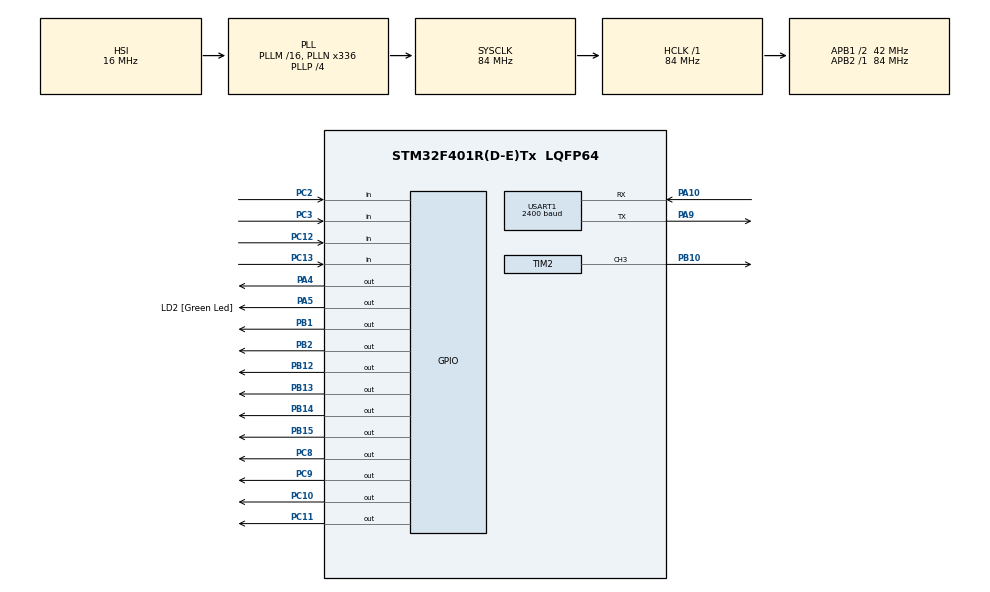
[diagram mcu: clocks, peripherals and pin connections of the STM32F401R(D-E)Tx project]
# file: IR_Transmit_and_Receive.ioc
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Mcu.Family=STM32F4
Mcu.Name=STM32F401R(D-E)Tx
Mcu.Package=LQFP64
NVIC.PriorityGroup=NVIC_PRIORITYGROUP_4
NVIC.TIM3_IRQn=true\:0\:0\:false\:false\:true\:true\:true\:true
NVIC.TIM4_IRQn=true\:2\:0\:true\:false\:true\:true\:true\:true
NVIC.USART1_IRQn=true\:1\:0\:true\:false\:true\:true\:true\:true
PA10.Mode=Asynchronous
PA10.Signal=USART1_RX
PA13.GPIO_Label=TMS
PA13.Mode=Trace_Asynchronous_SW
PA13.Signal=SYS_JTMS-SWDIO
PA14.GPIO_Label=TCK
PA14.Mode=Trace_Asynchronous_SW
PA14.Signal=SYS_JTCK-SWCLK
PA2.GPIO_Label=USART_TX
PA2.GPIO_Mode=GPIO_MODE_AF_PP
PA2.GPIO_PuPd=GPIO_NOPULL
PA2.GPIO_Speed=GPIO_SPEED_FREQ_LOW
PA2.Signal=USART2_TX
PA3.GPIO_Label=USART_RX
PA3.GPIO_Mode=GPIO_MODE_AF_PP
PA3.GPIO_PuPd=GPIO_NOPULL
PA3.GPIO_Speed=GPIO_SPEED_FREQ_LOW
PA3.Signal=USART2_RX
PA4.Signal=GPIO_Output
PA5.GPIO_Label=LD2 [Green Led]
PA5.GPIO_Mode=GPIO_MODE_OUTPUT_PP
PA5.GPIO_PuPd=GPIO_NOPULL
PA5.GPIO_Speed=GPIO_SPEED_FREQ_LOW
PA5.Signal=GPIO_Output
PA9.Mode=Asynchronous
PA9.Signal=USART1_TX
PB1.Signal=GPIO_Output
PB10.Signal=S_TIM2_CH3
PB12.Signal=GPIO_Output
PB13.Signal=GPIO_Output
PB14.Signal=GPIO_Output
PB15.Signal=GPIO_Output
PB2.Signal=GPIO_Output
PB3.GPIO_Label=SWO
PB3.Mode=Trace_Asynchronous_SW
PB3.Signal=SYS_JTDO-SWO
PC10.Signal=GPIO_Output
PC11.Signal=GPIO_Output
PC12.Signal=GPIO_Input
PC13-ANTI_TAMP.Signal=GPIO_Input
PC14-OSC32_IN.Mode=LSE-External-Oscillator
PC14-OSC32_IN.Signal=RCC_OSC32_IN
PC15-OSC32_OUT.Mode=LSE-External-Oscillator
PC15-OSC32_OUT.Signal=RCC_OSC32_OUT
PC2.Signal=GPIO_Input
PC3.Signal=GPIO_Input
PC8.Signal=GPIO_Output
PC9.Signal=GPIO_Output
PH0\ -\ OSC_IN.Mode=HSE-External-Clock-Source
PH0\ -\ OSC_IN.Signal=RCC_OSC_IN
PH1\ -\ OSC_OUT.Mode=HSE-External-Clock-Source
PH1\ -\ OSC_OUT.Signal=RCC_OSC_OUT
ProjectManager.HeapSize=0x200
ProjectManager.StackSize=0x400
ProjectManager.TargetToolchain=STM32CubeIDE
RCC.48MHZClocksFreq_Value=48000000
RCC.AHBFreq_Value=84000000
RCC.APB1CLKDivider=RCC_HCLK_DIV2
RCC.APB1Freq_Value=42000000
RCC.APB1TimFreq_Value=84000000
RCC.APB2Freq_Value=84000000
RCC.APB2TimFreq_Value=84000000
RCC.CortexFreq_Value=84000000
RCC.HCLKFreq_Value=84000000
RCC.HSE_VALUE=8000000
RCC.HSI_VALUE=16000000
RCC.PLLN=336
RCC.PLLP=RCC_PLLP_DIV4
RCC.PLLQ=7
RCC.SYSCLKFreq_VALUE=84000000
RCC.SYSCLKSource=RCC_SYSCLKSOURCE_PLLCLK
RCC.VCOOutputFreq_Value=336000000
SH.S_TIM2_CH3.0=TIM2_CH3,PWM Generation3 CH3
TIM2.Channel-PWM\ Generation3\ CH3=TIM_CHANNEL_3
TIM2.Period=2211 - 1
TIM2.Pulse-PWM\ Generation3\ CH3=1105
TIM3.Period=1000 - 1
TIM3.Prescaler=35 - 1
TIM4.Period=5000 - 1
TIM4.Prescaler=84 - 1
USART1.BaudRate=2400
USART1.VirtualMode=VM_ASYNC
VP_TIM2_VS_ClockSourceINT.Mode=Internal
VP_TIM3_VS_ClockSourceINT.Mode=Internal
VP_TIM4_VS_ClockSourceINT.Mode=Internal
board=NUCLEO-F401RE

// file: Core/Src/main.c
/* USER CODE BEGIN Header */
/**
  **************************
  * @file           : main.c
  * @brief          : Main program body
  **************************
  * @attention
  *
  * Copyright (c) 2025 STMicroelectronics.
  * All rights reserved.
  *
  * This software is licensed under terms that can be found in the LICENSE file
  * in the root directory of this software component.
  * If no LICENSE file comes with this software, it is provided AS-IS.
  *
  **************************
  */
/* USER CODE END Header */
#include "main.h"

/* USER CODE BEGIN Includes */
#include "stdio.h"
#include "string.h"
#include "PMDB16_LCD.h"
/* USER CODE END Includes */

/* USER CODE BEGIN PD */
//TRANSMIT
//#define GREEN_LED GPIOA,GPIO_PIN_5
#define TIME_PERIOD_DEBOUNCE 4
#define BUFFER_SIZE 16

#define PIN_PC8 GPIOC, GPIO_PIN_8
#define PIN_PC9 GPIOC, GPIO_PIN_9
#define PIN_PC10 GPIOC, GPIO_PIN_10
#define PIN_PC11 GPIOC, GPIO_PIN_11

#define PIN_PC3 GPIOC, GPIO_PIN_3
#define PIN_PC2 GPIOC, GPIO_PIN_2
#define PIN_PC13 GPIOC, GPIO_PIN_13
#define PIN_PC12 GPIOC, GPIO_PIN_12

//RECEIVE
#define N_CHAR 16 //for LCD
/* USER CODE END PD */

TIM_HandleTypeDef htim2;
TIM_HandleTypeDef htim3;
TIM_HandleTypeDef htim4;

UART_HandleTypeDef huart1;

/* USER CODE BEGIN PV */

//TRANSMIT VARIABLES

//ir uart variables
//uint8_t ONE_BYTE = 0b01011101; //1
//uint8_t ZERO_BYTE = 0b00000000; //0
//char string_send[20]= "Ciao a tutti";

volatile uint8_t sending=0, count_bit=0, pwm_enabled=0, stop_interrupt_IR_send=1, index_str;

//keyboard variables
uint8_t key_pressed[4][4];
uint8_t character_printed[4][4];

//circular buffer for detected and sent keys
volatile char key_press_buffer[BUFFER_SIZE];
volatile uint8_t buff_head=0, buff_tail=0;

int scan_column = 0;

char keyboard[4][4] = {
    { '0','1','2','3' },
    { '4','5','6','7' },
    { '8','9','A','B' },
    { 'C','D','E','F' }
};

//RECEIVE VARIABLES
uint8_t char_receive;
char string_lcd[N_CHAR + 1];
int length_lcd = 0;

/* USER CODE END PV */

void SystemClock_Config(void);
static void MX_GPIO_Init(void);
static void MX_TIM2_Init(void);
static void MX_TIM3_Init(void);
static void MX_USART1_UART_Init(void);
static void MX_TIM4_Init(void);

/* USER CODE BEGIN 0 */

//TRANSMIT
void send_IR_UART(){
	if(!stop_interrupt_IR_send){
		if(sending==0){	//prima accensione pwm
			HAL_TIM_PWM_Start(&htim2, TIM_CHANNEL_3);
			pwm_enabled=1;
			sending=1;
		}else if(sending==1){		//invio effettivo dei bit
			if(count_bit<=7){
				uint8_t bit = (key_press_buffer[buff_tail] >> count_bit) & 0x01;
				if( bit==0 && pwm_enabled==0){ //bit=0 accendo pwm. la accendo solo se non era già accesa
					HAL_TIM_PWM_Start(&htim2, TIM_CHANNEL_3);
					pwm_enabled=1;
				}else if(bit==1 && pwm_enabled==1){ //bit=1 spengo pwm, la spengo solo se non era già accesa
					HAL_TIM_PWM_Stop(&htim2, TIM_CHANNEL_3);
					pwm_enabled=0;
				}
			}else if(pwm_enabled==1){
				HAL_TIM_PWM_Stop(&htim2, TIM_CHANNEL_3);
				pwm_enabled=0;
			}
			count_bit++;
		}

		if(count_bit>8){
			count_bit=0;
			sending=0;
//				if(pwm_enabled==1){
//					HAL_TIM_PWM_Stop(&htim2, TIM_CHANNEL_3);
//				}
			buff_tail = (buff_tail + 1) % BUFFER_SIZE;
			if(buff_head == buff_tail){
				if(pwm_enabled == 1){
					HAL_TIM_PWM_Stop(&htim2, TIM_CHANNEL_3);
					pwm_enabled = 0;
				}
				pwm_enabled = 0;

				stop_interrupt_IR_send=1;
				HAL_TIM_Base_Stop_IT(&htim3);
			}
		}
	}
}

void read_keyboard(){
	if (HAL_GPIO_ReadPin(PIN_PC12) == 1) {
		key_pressed[0][scan_column] = 0;
		character_printed[0][scan_column] = 0;
	}
	else {
		key_pressed[0][scan_column]++;
	}

	if (HAL_GPIO_ReadPin(PIN_PC13) == 1) {
		key_pressed[1][scan_column] = 0;
		character_printed[1][scan_column] = 0;
	}
	else {
		key_pressed[1][scan_column]++;
	}

	if (HAL_GPIO_ReadPin(PIN_PC2) == 1) {
		key_pressed[2][scan_column] = 0;
		character_printed[2][scan_column] = 0;
	}
	else {
		key_pressed[2][scan_column]++;
	}

	if (HAL_GPIO_ReadPin(PIN_PC3) == 1) {
		key_pressed[3][scan_column] = 0;
		character_printed[3][scan_column] = 0;
	}
	else {
		key_pressed[3][scan_column]++;
	}

	scan_column ++;
	if (scan_column > 3)
		scan_column = 0;

	HAL_GPIO_WritePin(PIN_PC11, (scan_column == 3)? 1:0);
	HAL_GPIO_WritePin(PIN_PC10, (scan_column == 2)? 1:0);
	HAL_GPIO_WritePin(PIN_PC9, (scan_column == 1)? 1:0);
	HAL_GPIO_WritePin(PIN_PC8, (scan_column == 0)? 1:0);

	for( int i = 0; i<4;i++) {

		for(int j = 0; j<4; j++) {
			if (key_pressed[i][j] > TIME_PERIOD_DEBOUNCE) {

				if (character_printed[i][j] == 0) {

//	    				HAL_UART_Transmit_DMA(&huart2, &keyboard[i][j],1);
					uint8_t next_head = (buff_head + 1) % BUFFER_SIZE;

					if (next_head != buff_tail) { //check buffer full, if not save key on buffer
						key_press_buffer[buff_head] = keyboard[i][j];
						buff_head = next_head;
					}

					character_printed[i][j] = 1;

					if(stop_interrupt_IR_send == 1) {
					    stop_interrupt_IR_send = 0;
					    __HAL_TIM_SET_COUNTER(&htim3, 0);
					    HAL_TIM_Base_Start_IT(&htim3);
					}
				}
			}
		}
	}
}

void HAL_TIM_PeriodElapsedCallback(TIM_HandleTypeDef *htim){
	if(htim->Instance == TIM3){
		send_IR_UART();
	}
	if(htim->Instance == TIM4){
		read_keyboard();
	}
}

//RECEIVE
void HAL_UARTEx_RxEventCallback(UART_HandleTypeDef *huart, uint16_t Size){
	if (huart->Instance == USART1){
		length_lcd = strlen((char*) string_lcd);

		if (length_lcd >= N_CHAR) {
			string_lcd[0] = '\0';
			length_lcd = 0;
		}

		string_lcd[length_lcd] = char_receive;
		string_lcd[length_lcd + 1] = '\0';

		lcd_println(string_lcd, 0);

		HAL_UARTEx_ReceiveToIdle_IT(&huart1, &char_receive, 1);
	}
}

//void HAL_UART_TxCpltCallback(UART_HandleTypeDef *huart ){
//	if (huart->Instance == USART2){
//		HAL_UART_Receive_IT(&huart1, &char_receive, 1);
//	}
//}

/* USER CODE END 0 */

int main(void)
{

  /* MCU Configuration--------------------------------------------------------*/

  /* Reset of all peripherals, Initializes the Flash interface and the Systick. */
  HAL_Init();

  /* Configure the system clock */
  SystemClock_Config();

  /* Initialize all configured peripherals */
  MX_GPIO_Init();
  MX_TIM2_Init();
  MX_TIM3_Init();
  MX_USART1_UART_Init();
  MX_TIM4_Init();
  /* USER CODE BEGIN 2 */
  lcd_initialize();
  lcd_backlight_ON();

  HAL_UARTEx_ReceiveToIdle_IT(&huart1, &char_receive, 1);

  HAL_TIM_PWM_Init(&htim2);
//  HAL_TIM_Base_Start_IT(&htim3); // for debug, send string
  HAL_TIM_Base_Start_IT(&htim4);
  /* USER CODE END 2 */

  /* Infinite loop */
  while (1)
  {

  }
}

void SystemClock_Config(void)
{
  RCC_OscInitTypeDef RCC_OscInitStruct = {0};
  RCC_ClkInitTypeDef RCC_ClkInitStruct = {0};

  /** Configure the main internal regulator output voltage
  */
  __HAL_RCC_PWR_CLK_ENABLE();
  __HAL_PWR_VOLTAGESCALING_CONFIG(PWR_REGULATOR_VOLTAGE_SCALE2);

  /** Initializes the RCC Oscillators according to the specified parameters
  * in the RCC_OscInitTypeDef structure.
  */
  RCC_OscInitStruct.OscillatorType = RCC_OSCILLATORTYPE_HSI;
  RCC_OscInitStruct.HSIState = RCC_HSI_ON;
  RCC_OscInitStruct.HSICalibrationValue = RCC_HSICALIBRATION_DEFAULT;
  RCC_OscInitStruct.PLL.PLLState = RCC_PLL_ON;
  RCC_OscInitStruct.PLL.PLLSource = RCC_PLLSOURCE_HSI;
  RCC_OscInitStruct.PLL.PLLM = 16;
  RCC_OscInitStruct.PLL.PLLN = 336;
  RCC_OscInitStruct.PLL.PLLP = RCC_PLLP_DIV4;
  RCC_OscInitStruct.PLL.PLLQ = 7;
  if (HAL_RCC_OscConfig(&RCC_OscInitStruct) != HAL_OK)
  {
    Error_Handler();
  }

  /** Initializes the CPU, AHB and APB buses clocks
  */
  RCC_ClkInitStruct.ClockType = RCC_CLOCKTYPE_HCLK|RCC_CLOCKTYPE_SYSCLK
                              |RCC_CLOCKTYPE_PCLK1|RCC_CLOCKTYPE_PCLK2;
  RCC_ClkInitStruct.SYSCLKSource = RCC_SYSCLKSOURCE_PLLCLK;
  RCC_ClkInitStruct.AHBCLKDivider = RCC_SYSCLK_DIV1;
  RCC_ClkInitStruct.APB1CLKDivider = RCC_HCLK_DIV2;
  RCC_ClkInitStruct.APB2CLKDivider = RCC_HCLK_DIV1;

  if (HAL_RCC_ClockConfig(&RCC_ClkInitStruct, FLASH_LATENCY_2) != HAL_OK)
  {
    Error_Handler();
  }
}

static void MX_TIM2_Init(void)
{

  TIM_ClockConfigTypeDef sClockSourceConfig = {0};
  TIM_MasterConfigTypeDef sMasterConfig = {0};
  TIM_OC_InitTypeDef sConfigOC = {0};

  htim2.Instance = TIM2;
  htim2.Init.Prescaler = 0;
  htim2.Init.CounterMode = TIM_COUNTERMODE_UP;
  htim2.Init.Period = 2211 - 1;
  htim2.Init.ClockDivision = TIM_CLOCKDIVISION_DIV1;
  htim2.Init.AutoReloadPreload = TIM_AUTORELOAD_PRELOAD_DISABLE;
  if (HAL_TIM_Base_Init(&htim2) != HAL_OK)
  {
    Error_Handler();
  }
  sClockSourceConfig.ClockSource = TIM_CLOCKSOURCE_INTERNAL;
  if (HAL_TIM_ConfigClockSource(&htim2, &sClockSourceConfig) != HAL_OK)
  {
    Error_Handler();
  }
  if (HAL_TIM_PWM_Init(&htim2) != HAL_OK)
  {
    Error_Handler();
  }
  sMasterConfig.MasterOutputTrigger = TIM_TRGO_RESET;
  sMasterConfig.MasterSlaveMode = TIM_MASTERSLAVEMODE_DISABLE;
  if (HAL_TIMEx_MasterConfigSynchronization(&htim2, &sMasterConfig) != HAL_OK)
  {
    Error_Handler();
  }
  sConfigOC.OCMode = TIM_OCMODE_PWM1;
  sConfigOC.Pulse = 1105;
  sConfigOC.OCPolarity = TIM_OCPOLARITY_HIGH;
  sConfigOC.OCFastMode = TIM_OCFAST_DISABLE;
  if (HAL_TIM_PWM_ConfigChannel(&htim2, &sConfigOC, TIM_CHANNEL_3) != HAL_OK)
  {
    Error_Handler();
  }
  HAL_TIM_MspPostInit(&htim2);

}

static void MX_TIM3_Init(void)
{

  TIM_ClockConfigTypeDef sClockSourceConfig = {0};
  TIM_MasterConfigTypeDef sMasterConfig = {0};

  htim3.Instance = TIM3;
  htim3.Init.Prescaler = 35 - 1;
  htim3.Init.CounterMode = TIM_COUNTERMODE_UP;
  htim3.Init.Period = 1000 - 1;
  htim3.Init.ClockDivision = TIM_CLOCKDIVISION_DIV1;
  htim3.Init.AutoReloadPreload = TIM_AUTORELOAD_PRELOAD_DISABLE;
  if (HAL_TIM_Base_Init(&htim3) != HAL_OK)
  {
    Error_Handler();
  }
  sClockSourceConfig.ClockSource = TIM_CLOCKSOURCE_INTERNAL;
  if (HAL_TIM_ConfigClockSource(&htim3, &sClockSourceConfig) != HAL_OK)
  {
    Error_Handler();
  }
  sMasterConfig.MasterOutputTrigger = TIM_TRGO_RESET;
  sMasterConfig.MasterSlaveMode = TIM_MASTERSLAVEMODE_DISABLE;
  if (HAL_TIMEx_MasterConfigSynchronization(&htim3, &sMasterConfig) != HAL_OK)
  {
    Error_Handler();
  }

}

static void MX_TIM4_Init(void)
{

  TIM_ClockConfigTypeDef sClockSourceConfig = {0};
  TIM_MasterConfigTypeDef sMasterConfig = {0};

  htim4.Instance = TIM4;
  htim4.Init.Prescaler = 84 - 1;
  htim4.Init.CounterMode = TIM_COUNTERMODE_UP;
  htim4.Init.Period = 5000 - 1;
  htim4.Init.ClockDivision = TIM_CLOCKDIVISION_DIV1;
  htim4.Init.AutoReloadPreload = TIM_AUTORELOAD_PRELOAD_DISABLE;
  if (HAL_TIM_Base_Init(&htim4) != HAL_OK)
  {
    Error_Handler();
  }
  sClockSourceConfig.ClockSource = TIM_CLOCKSOURCE_INTERNAL;
  if (HAL_TIM_ConfigClockSource(&htim4, &sClockSourceConfig) != HAL_OK)
  {
    Error_Handler();
  }
  sMasterConfig.MasterOutputTrigger = TIM_TRGO_RESET;
  sMasterConfig.MasterSlaveMode = TIM_MASTERSLAVEMODE_DISABLE;
  if (HAL_TIMEx_MasterConfigSynchronization(&htim4, &sMasterConfig) != HAL_OK)
  {
    Error_Handler();
  }

}

static void MX_USART1_UART_Init(void)
{

  huart1.Instance = USART1;
  huart1.Init.BaudRate = 2400;
  huart1.Init.WordLength = UART_WORDLENGTH_8B;
  huart1.Init.StopBits = UART_STOPBITS_1;
  huart1.Init.Parity = UART_PARITY_NONE;
  huart1.Init.Mode = UART_MODE_TX_RX;
  huart1.Init.HwFlowCtl = UART_HWCONTROL_NONE;
  huart1.Init.OverSampling = UART_OVERSAMPLING_16;
  if (HAL_UART_Init(&huart1) != HAL_OK)
  {
    Error_Handler();
  }

}

static void MX_GPIO_Init(void)
{
  GPIO_InitTypeDef GPIO_InitStruct = {0};

  /* GPIO Ports Clock Enable */
  __HAL_RCC_GPIOC_CLK_ENABLE();
  __HAL_RCC_GPIOH_CLK_ENABLE();
  __HAL_RCC_GPIOA_CLK_ENABLE();
  __HAL_RCC_GPIOB_CLK_ENABLE();

  /*Configure GPIO pin Output Level */
  HAL_GPIO_WritePin(GPIOA, GPIO_PIN_4|LD2_Pin, GPIO_PIN_RESET);

  /*Configure GPIO pin Output Level */
  HAL_GPIO_WritePin(GPIOB, GPIO_PIN_1|GPIO_PIN_2|GPIO_PIN_12|GPIO_PIN_13
                          |GPIO_PIN_14|GPIO_PIN_15, GPIO_PIN_RESET);

  /*Configure GPIO pin Output Level */
  HAL_GPIO_WritePin(GPIOC, GPIO_PIN_8|GPIO_PIN_9|GPIO_PIN_10|GPIO_PIN_11, GPIO_PIN_RESET);

  /*Configure GPIO pins : PC13 PC2 PC3 PC12 */
  GPIO_InitStruct.Pin = GPIO_PIN_13|GPIO_PIN_2|GPIO_PIN_3|GPIO_PIN_12;
  GPIO_InitStruct.Mode = GPIO_MODE_INPUT;
  GPIO_InitStruct.Pull = GPIO_NOPULL;
  HAL_GPIO_Init(GPIOC, &GPIO_InitStruct);

  /*Configure GPIO pins : USART_TX_Pin USART_RX_Pin */
  GPIO_InitStruct.Pin = USART_TX_Pin|USART_RX_Pin;
  GPIO_InitStruct.Mode = GPIO_MODE_AF_PP;
  GPIO_InitStruct.Pull = GPIO_NOPULL;
  GPIO_InitStruct.Speed = GPIO_SPEED_FREQ_LOW;
  GPIO_InitStruct.Alternate = GPIO_AF7_USART2;
  HAL_GPIO_Init(GPIOA, &GPIO_InitStruct);

  /*Configure GPIO pins : PA4 LD2_Pin */
  GPIO_InitStruct.Pin = GPIO_PIN_4|LD2_Pin;
  GPIO_InitStruct.Mode = GPIO_MODE_OUTPUT_PP;
  GPIO_InitStruct.Pull = GPIO_NOPULL;
  GPIO_InitStruct.Speed = GPIO_SPEED_FREQ_LOW;
  HAL_GPIO_Init(GPIOA, &GPIO_InitStruct);

  /*Configure GPIO pins : PB1 PB2 PB12 PB13
                           PB14 PB15 */
  GPIO_InitStruct.Pin = GPIO_PIN_1|GPIO_PIN_2|GPIO_PIN_12|GPIO_PIN_13
                          |GPIO_PIN_14|GPIO_PIN_15;
  GPIO_InitStruct.Mode = GPIO_MODE_OUTPUT_PP;
  GPIO_InitStruct.Pull = GPIO_NOPULL;
  GPIO_InitStruct.Speed = GPIO_SPEED_FREQ_LOW;
  HAL_GPIO_Init(GPIOB, &GPIO_InitStruct);

  /*Configure GPIO pins : PC8 PC9 PC10 PC11 */
  GPIO_InitStruct.Pin = GPIO_PIN_8|GPIO_PIN_9|GPIO_PIN_10|GPIO_PIN_11;
  GPIO_InitStruct.Mode = GPIO_MODE_OUTPUT_PP;
  GPIO_InitStruct.Pull = GPIO_NOPULL;
  GPIO_InitStruct.Speed = GPIO_SPEED_FREQ_LOW;
  HAL_GPIO_Init(GPIOC, &GPIO_InitStruct);

}

void Error_Handler(void)
{
  __disable_irq();
  while (1)
  {
  }
}
